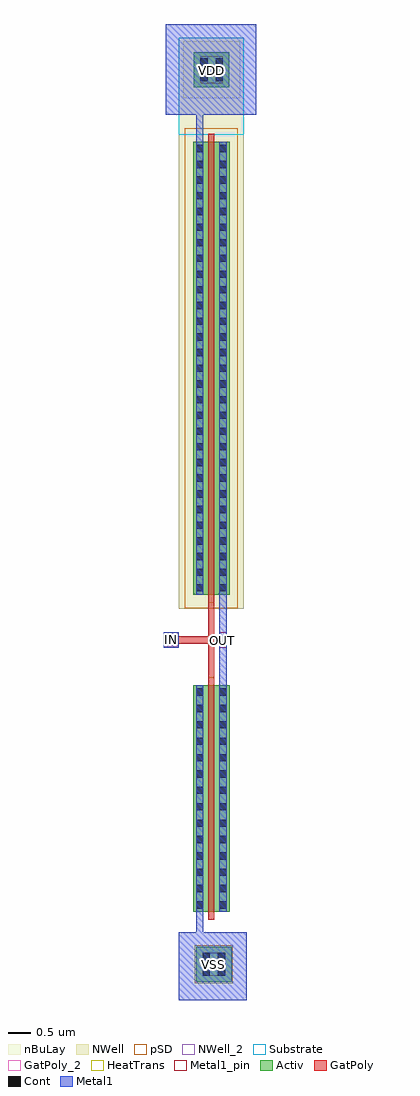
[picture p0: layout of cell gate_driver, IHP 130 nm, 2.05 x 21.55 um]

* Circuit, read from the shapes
.subckt gate_driver IN OUT VDD VSS
XM1 OUT IN VSS VSS sg13_lv_nmos w=5u l=0.13u
XM2 OUT IN VDD VDD sg13_lv_pmos w=10u l=0.13u
.ends

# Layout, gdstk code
import gdstk
lib = gdstk.Library(unit=1e-6, precision=1e-09)
def R(c, l, rs):  # rectangles x0, y0, x1, y1
    for r in rs: c.add(gdstk.rectangle(r[:2], r[2:], *l))
def A(c, l, x, y, w, h, nx, ny, dx, dy):  # array of equal rectangles
    R(c, l, [(x+i*dx, y+j*dy, x+i*dx+w, y+j*dy+h) for i in range(nx) for j in range(ny)])
Activ = (1, 0)
GatPoly = (5, 0)
GatPoly_2 = (5, 2)
Cont = (6, 0)
Metal1 = (8, 0)
Metal1_pin = (8, 2)
pSD = (14, 0)
NWell = (31, 0)
NWell_2 = (31, 2)
nBuLay = (32, 0)
Substrate = (40, 0)
HeatTrans = (51, 0)

nmos = lib.new_cell('nmos')
R(nmos, Activ, [(0,0,0.3,0.3), (0,0,0.81,5), (0.51,0,0.81,0.3)])
R(nmos, GatPoly, [(0.34,-0.18,0.47,5.18)])
R(nmos, GatPoly_2, [(0.34,-0.18,0.47,5.18)])
A(nmos, Cont, 0.07, 0.07, 0.16, 0.16, 1, 4, 0, 0.36)
A(nmos, Cont, 0.58, 0.07, 0.16, 0.16, 1, 4, 0, 0.36)
A(nmos, Cont, 0.07, 1.515, 0.16, 0.16, 1, 3, 0, 0.36)
A(nmos, Cont, 0.58, 1.515, 0.16, 0.16, 1, 3, 0, 0.36)
A(nmos, Cont, 0.07, 2.6, 0.16, 0.16, 1, 3, 0, 0.36)
A(nmos, Cont, 0.58, 2.6, 0.16, 0.16, 1, 3, 0, 0.36)
A(nmos, Cont, 0.07, 3.685, 0.16, 0.16, 1, 3, 0, 0.36)
A(nmos, Cont, 0.58, 3.685, 0.16, 0.16, 1, 3, 0, 0.36)
R(nmos, Cont, [(0.07,4.77,0.23,4.93), (0.58,4.77,0.74,4.93)])
R(nmos, Metal1, [(0.07,0,0.23,5), (0.58,0,0.74,5)])
R(nmos, Metal1_pin, [(0.07,0,0.23,5), (0.58,0,0.74,5)])
R(nmos, HeatTrans, [(0.34,-0.18,0.47,5.18)])
nmos.add(gdstk.Label('nmos', (0.405,2.5), layer=63, texttype=0))
nmos.add(gdstk.Label('nmos', (0.405,2.5), layer=51, texttype=0))

pmos = lib.new_cell('pmos')
R(pmos, Activ, [(0,0,0.3,0.3), (0,0,0.81,10), (0.51,0,0.81,0.3)])
R(pmos, GatPoly, [(0.34,-0.18,0.47,10.18), (0.34,-0.18,0.47,10.18)])
A(pmos, Cont, 0.07, 0.07, 0.16, 0.16, 1, 4, 0, 0.345)
A(pmos, Cont, 0.58, 0.07, 0.16, 0.16, 1, 4, 0, 0.345)
A(pmos, Cont, 0.07, 1.455, 0.16, 0.16, 1, 3, 0, 0.345)
A(pmos, Cont, 0.58, 1.455, 0.16, 0.16, 1, 3, 0, 0.345)
A(pmos, Cont, 0.07, 2.495, 0.16, 0.16, 1, 4, 0, 0.345)
A(pmos, Cont, 0.58, 2.495, 0.16, 0.16, 1, 4, 0, 0.345)
A(pmos, Cont, 0.07, 3.88, 0.16, 0.16, 1, 3, 0, 0.345)
A(pmos, Cont, 0.58, 3.88, 0.16, 0.16, 1, 3, 0, 0.345)
A(pmos, Cont, 0.07, 4.92, 0.16, 0.16, 1, 4, 0, 0.345)
A(pmos, Cont, 0.58, 4.92, 0.16, 0.16, 1, 4, 0, 0.345)
A(pmos, Cont, 0.07, 6.305, 0.16, 0.16, 1, 3, 0, 0.345)
A(pmos, Cont, 0.58, 6.305, 0.16, 0.16, 1, 3, 0, 0.345)
A(pmos, Cont, 0.07, 7.345, 0.16, 0.16, 1, 4, 0, 0.345)
A(pmos, Cont, 0.58, 7.345, 0.16, 0.16, 1, 4, 0, 0.345)
A(pmos, Cont, 0.07, 8.73, 0.16, 0.16, 1, 3, 0, 0.345)
A(pmos, Cont, 0.58, 8.73, 0.16, 0.16, 1, 3, 0, 0.345)
R(pmos, Cont, [(0.07,9.77,0.23,9.93), (0.58,9.77,0.74,9.93)])
R(pmos, Metal1, [(0.07,0,0.23,10), (0.07,0,0.23,10), (0.58,0,0.74,10), (0.58,0,0.74,10)])
R(pmos, pSD, [(-0.18,-0.3,0.99,10.3)])
R(pmos, NWell, [(-0.31,-0.31,1.12,10.31)])
R(pmos, HeatTrans, [(0.34,-0.18,0.47,10.18)])
pmos.add(gdstk.Label('pmos', (0.405,5), layer=63, texttype=0))
pmos.add(gdstk.Label('pmos', (0.405,5), layer=51, texttype=0))

ntap1 = lib.new_cell('ntap1')
R(ntap1, Activ, [(0,0,0.78,0.78)])
R(ntap1, Cont, [(0.14,0.14,0.3,0.3), (0.48,0.14,0.64,0.3), (0.14,0.48,0.3,0.64), (0.48,0.48,0.64,0.64)])
R(ntap1, Metal1, [(0.14,0.09,0.64,0.69)])
R(ntap1, Metal1_pin, [(0.14,0.09,0.64,0.69), (0.14,0.14,0.64,0.64)])
R(ntap1, NWell, [(-0.24,-0.24,1.02,1.02), (0,0,0.78,0.78)])
R(ntap1, NWell_2, [(0,0,0.78,0.78)])
R(ntap1, nBuLay, [(-0.24,-0.24,1.02,1.02)])
ntap1.add(gdstk.Label('well', (0.39,0.01), layer=63, texttype=0))
ntap1.add(gdstk.Label('well', (0.39,0.01), layer=31, texttype=0))

ptap1 = lib.new_cell('ptap1')
R(ptap1, Activ, [(0,0,0.78,0.78)])
R(ptap1, Cont, [(0.14,0.14,0.3,0.3), (0.48,0.14,0.64,0.3), (0.14,0.48,0.3,0.64), (0.48,0.48,0.64,0.64)])
R(ptap1, Metal1, [(0.14,0.09,0.64,0.69), (0.14,0.14,0.64,0.64)])
R(ptap1, Metal1_pin, [(0.14,0.14,0.64,0.64)])
R(ptap1, pSD, [(-0.03,-0.03,0.81,0.81)])
R(ptap1, Substrate, [(0,0,0.78,0.78)])
ptap1.add(gdstk.Label('sub!', (0.39,0.01), layer=63, texttype=0))
ptap1.add(gdstk.Label('sub!', (0.39,0.01), layer=40, texttype=0))

gate_driver = lib.new_cell('gate_driver')
R(gate_driver, GatPoly, [(0.34,5.1,0.47,6.9), (-0.65,5.83,-0.31,6.17), (-0.56,5.92,0.44,6.08)])
R(gate_driver, Cont, [(-0.56,5.92,-0.4,6.08)])
R(gate_driver, Metal1, [(-0.31,-1.95,1.19,-0.45), (0.07,-0.74,0.23,0.26), (0.58,4.8,0.74,7.2), (-0.65,5.83,-0.31,6.17), (0.07,16.81,0.23,17.81), (-0.6,17.6,1.4,19.6)])
R(gate_driver, Metal1_pin, [(0.395,-1.225,0.525,-1.095), (-0.65,5.83,-0.31,6.17), (0.58,5.83,0.74,6.17), (0.595,5.925,0.725,6.055), (-0.545,5.935,-0.415,6.065), (0.345,18.515,0.475,18.645)])
R(gate_driver, NWell, [(-0.31,16.77,1.12,19.3)])
R(gate_driver, Substrate, [(-0.31,17.15,1.12,19.3)])
gate_driver.add(gdstk.Reference(nmos, (0,0)))
gate_driver.add(gdstk.Reference(pmos, (0,7)))
gate_driver.add(gdstk.Reference(ntap1, (0.02,18.2)))
gate_driver.add(gdstk.Reference(ptap1, (0.07,-1.55)))
gate_driver.add(gdstk.Label('IN', (-0.48,6), layer=8, texttype=25))
gate_driver.add(gdstk.Label('OUT', (0.66,5.99), layer=8, texttype=25))
gate_driver.add(gdstk.Label('VSS', (0.46,-1.16), layer=8, texttype=25))
gate_driver.add(gdstk.Label('VDD', (0.41,18.58), layer=8, texttype=25))

lib.write_gds('gate_driver.gds')
